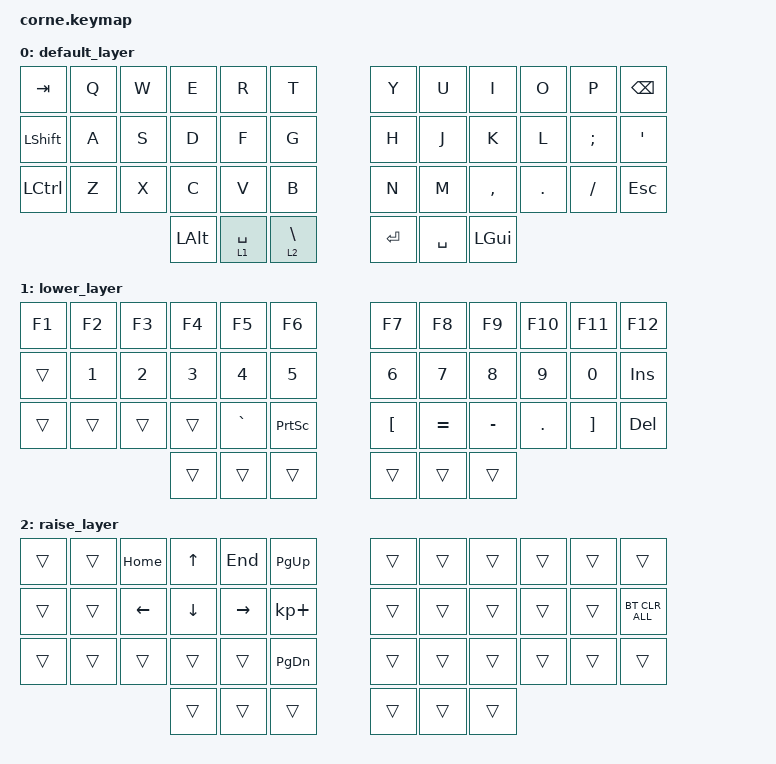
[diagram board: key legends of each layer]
/*
 * Copyright (c) 2020 The ZMK Contributors
 *
 * SPDX-License-Identifier: MIT
 */

#include <behaviors.dtsi>
#include <dt-bindings/zmk/keys.h>
#include <dt-bindings/zmk/bt.h>

#define DEFAULT 0
#define LOWER   1
#define RAISE   2

/ {
        keymap {
                compatible = "zmk,keymap";

                default_layer {
// -----------------------------------------------------------------------------------------
// |  TAB |  Q  |  W  |  E  |  R  |  T  |   |  Y  |  U   |  I  |  O  |  P  | BSPC |
// | SHFT |  A  |  S  |  D  |  F  |  G  |   |  H  |  J   |  K  |  L  |  ;  |  '   |
// | CTRL |  Z  |  X  |  C  |  V  |  B  |   |  N  |  M   |  ,  |  .  |  /  | ESC  |
//     | ALT | &LT 1 SPC | &LT 2 BSLH   |   | ENT | SPC  | GUI |
                        bindings = <
   &kp TAB   &kp Q &kp W &kp E &kp R &kp T   &kp Y &kp U  &kp I     &kp O   &kp P    &kp BSPC
   &kp LSHFT &kp A &kp S &kp D &kp F &kp G   &kp H &kp J  &kp K     &kp L   &kp SEMI &kp SQT
   &kp LCTRL &kp Z &kp X &kp C &kp V &kp B   &kp N &kp M  &kp COMMA &kp DOT &kp FSLH &kp ESC
        &kp LALT &lt 1 SPACE &lt 2 BSLH   &kp RET &kp SPACE &kp LGUI
                        >;
                };
                lower_layer {
// -----------------------------------------------------------------------------------------
// |  F1  |  F2 |  F3 |  F4 |  F5 |  F6 |   |  F7 |  F8 |  F9 | F10 | F11 |  F12 |
// |      |  1  |  2  |  3  |  4  |  5  |   |  6  |  7  |  8  |  9  |  0  |  INS |
// |      |     |     |     |  `  |PTSC |   |  [  |  =  |  -  |  .  |  ]  |  DEL |
//                    |     |     |     |   |     |     |     |
                        bindings = <
   &kp F1  &kp F2  &kp F3  &kp F4  &kp F5  &kp F6    &kp F7  &kp F8  &kp F9  &kp F10  &kp F11  &kp F12
   &trans &kp N1  &kp N2  &kp N3  &kp N4  &kp N5    &kp N6  &kp N7  &kp N8  &kp N9  &kp N0 &kp INS
   &trans  &trans  &trans  &trans  &kp GRAVE  &kp PSCRN    &kp LBKT  &kp EQUAL  &kp MINUS  &kp DOT  &kp RBKT  &kp DEL
                        &trans  &trans  &trans    &trans  &trans   &trans
                        >;
                };

                raise_layer {
// -----------------------------------------------------------------------------------------
// |      |     | HME |  UP | END |PGUP |   |     |     |     |     |     |      |
// |      |     | LFT | DWN | RGT |NUM+ |   |     |     |     |     |     |BT_CLR_ALL|
// |      |     |     |     |     |PGDN |   |     |     |     |     |     |      |
//                    |     |     |     |   |     |     |     |
                        bindings = <
   &trans  &trans  &kp HOME  &kp UP  &kp END  &kp PG_UP    &trans  &trans  &trans  &trans  &trans  &trans
   &trans  &trans  &kp LEFT  &kp DOWN  &kp RIGHT  &kp KP_PLUS    &trans  &trans  &trans  &trans  &trans  &bt BT_CLR_ALL
   &trans  &trans  &trans  &trans  &trans  &kp PG_DN    &trans &trans  &trans  &trans  &trans  &trans
                             &trans &trans &trans    &trans  &trans  &trans
                        >;
                };
        };
};
